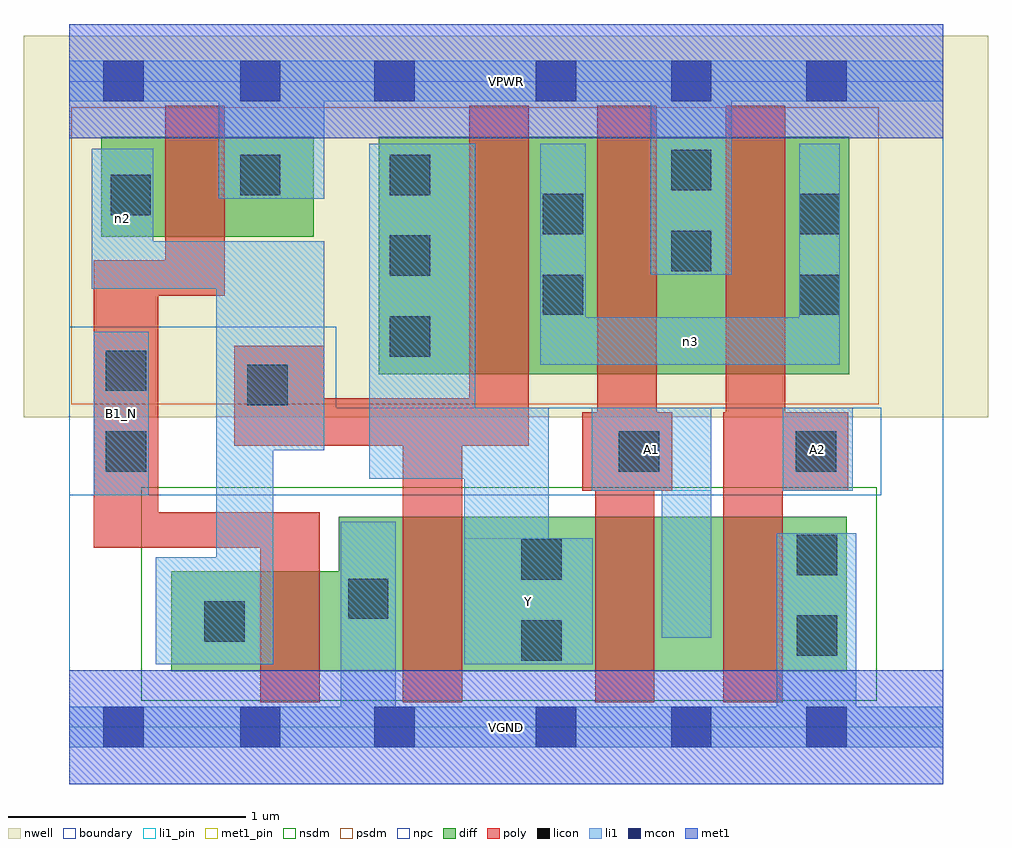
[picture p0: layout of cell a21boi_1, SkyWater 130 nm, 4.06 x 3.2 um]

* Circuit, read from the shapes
.subckt a21boi_1 A1 A2 B1_N VGND VPWR Y n2 n3
XM1 VGND B1_N n2 VSUBS sky130_fd_pr__nfet_01v8 w=0.42 l=0.25
XM2 Y n2 VGND VSUBS sky130_fd_pr__nfet_01v8 w=0.65 l=0.25
XM3 n1 A1 Y VSUBS sky130_fd_pr__nfet_01v8 w=0.65 l=0.25
XM4 VGND A2 n1 VSUBS sky130_fd_pr__nfet_01v8 w=0.65 l=0.25
XM5 VPWR B1_N n2 n4 sky130_fd_pr__pfet_01v8 w=0.42 l=0.25
XM6 n3 n2 Y n4 sky130_fd_pr__pfet_01v8 w=1 l=0.25
XM7 VPWR A1 n3 n4 sky130_fd_pr__pfet_01v8 w=1 l=0.25
XM8 n3 A2 VPWR n4 sky130_fd_pr__pfet_01v8 w=1 l=0.25
.ends

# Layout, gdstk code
import gdstk
lib = gdstk.Library(unit=1e-6, precision=1e-09)
def R(c, l, rs):  # rectangles x0, y0, x1, y1
    for r in rs: c.add(gdstk.rectangle(r[:2], r[2:], *l))
def A(c, l, x, y, w, h, nx, ny, dx, dy):  # array of equal rectangles
    R(c, l, [(x+i*dx, y+j*dy, x+i*dx+w, y+j*dy+h) for i in range(nx) for j in range(ny)])
nwell = (64, 20)
diff = (65, 20)
poly = (66, 20)
licon = (66, 44)
li1_pin = (67, 16)
li1 = (67, 20)
mcon = (67, 44)
met1_pin = (68, 16)
met1 = (68, 20)
nsdm = (93, 44)
psdm = (94, 20)
npc = (95, 20)
boundary = (235, 4)

a21boi_1 = lib.new_cell('a21boi_1')
R(a21boi_1, nwell, [(-0.19,1.305,3.87,2.91), (0,1.305,3.68,2.91)])
R(a21boi_1, diff, [(0.43,0.235,3.275,0.655), (1.135,0.235,3.275,0.885), (1.305,1.485,3.285,2.485), (0.135,2.065,1.03,2.485)])
R(a21boi_1, poly, [(0.805,0.105,1.055,0.905), (1.405,0.105,1.655,1.385), (2.215,0.105,2.465,1.325), (2.755,0.105,3.005,1.325), (0.105,0.755,0.375,1.965), (0.105,0.755,1.055,0.905), (2.16,0.995,2.54,1.325), (2.225,0.995,2.475,2.615), (2.755,0.995,3.28,1.325), (2.765,0.995,3.015,2.615), (0.695,1.185,1.935,1.385), (0.695,1.185,1.075,1.605), (1.685,1.185,1.935,2.615), (0.105,1.815,0.655,1.965), (0.405,1.815,0.655,2.615)])
A(a21boi_1, licon, 1.35, 1.56, 0.17, 0.17, 1, 3, 0, 0.34)
R(a21boi_1, licon, [(1.905,0.28,2.075,0.45), (3.065,0.3,3.235,0.47), (0.57,0.36,0.74,0.53), (1.175,0.455,1.345,0.625), (1.905,0.62,2.075,0.79), (3.065,0.64,3.235,0.81), (0.155,1.075,0.325,1.245), (2.315,1.075,2.485,1.245), (3.06,1.075,3.23,1.245), (0.75,1.355,0.92,1.525), (0.155,1.415,0.325,1.585), (1.995,1.735,2.165,1.905), (3.075,1.735,3.245,1.905), (2.535,1.92,2.705,2.09), (1.995,2.075,2.165,2.245), (3.075,2.075,3.245,2.245), (0.175,2.155,0.345,2.325), (0.72,2.24,0.89,2.41), (2.535,2.26,2.705,2.43)])
R(a21boi_1, li1_pin, [(1.665,0.265,2.205,0.795), (0.105,0.975,0.335,1.665), (2.2,0.995,2.705,1.345), (3.005,0.995,3.3,1.345)])
R(a21boi_1, li1, [(0,-0.085,3.68,0.085), (1.145,-0.085,1.375,0.865), (2.98,-0.085,3.315,0.815), (0.365,0.265,0.86,0.715), (0.62,0.265,0.86,2.045), (1.665,0.265,2.02,1.345), (1.665,0.265,2.205,0.795), (2.495,0.375,2.705,1.345), (0.105,0.975,0.335,1.665), (2.2,0.995,2.705,1.345), (3.005,0.995,3.3,1.345), (1.265,1.045,1.71,2.455), (0.62,1.165,1.075,2.045), (1.985,1.525,3.245,1.725), (1.985,1.525,2.175,2.455), (3.075,1.525,3.245,2.455), (0.095,1.845,0.355,2.435), (0.095,1.845,1.075,2.045), (2.45,1.905,2.79,2.805), (0.63,2.225,1.075,2.805), (0,2.635,3.68,2.805)])
A(a21boi_1, mcon, 1.965, -0.085, 0.17, 0.17, 3, 2, 0.57, 2.72)
R(a21boi_1, mcon, [(0.145,-0.085,0.315,0.085), (0.72,-0.085,0.89,0.085), (1.285,-0.085,1.455,0.085), (0.145,2.635,0.315,2.805), (0.72,2.635,0.89,2.805), (1.285,2.635,1.455,2.805)])
R(a21boi_1, met1_pin, [(0,-0.24,3.68,0.24), (0,2.48,3.68,2.96)])
R(a21boi_1, met1, [(0,-0.24,3.68,0.24), (0,2.48,3.68,2.96)])
R(a21boi_1, nsdm, [(0.305,0.11,3.4,1.01)])
R(a21boi_1, psdm, [(0.01,1.36,3.41,2.61)])
R(a21boi_1, npc, [(0,0.975,3.42,1.345), (0,0.975,1.125,1.685)])
R(a21boi_1, boundary, [(0,0,3.68,2.72)])
a21boi_1.add(gdstk.Label('A1', (2.452,1.17), layer=67, texttype=5))
a21boi_1.add(gdstk.Label('A2', (3.152,1.17), layer=67, texttype=5))
a21boi_1.add(gdstk.Label('B1_N', (0.22,1.32), layer=67, texttype=5))
a21boi_1.add(gdstk.Label('Y', (1.935,0.53), layer=67, texttype=5))
a21boi_1.add(gdstk.Label('n2', (0.225,2.14), layer=67, texttype=5))
a21boi_1.add(gdstk.Label('n3', (2.615,1.625), layer=67, texttype=5))
a21boi_1.add(gdstk.Label('VPWR', (1.84,2.72), layer=68, texttype=5))
a21boi_1.add(gdstk.Label('VGND', (1.84,0), layer=68, texttype=5))
a21boi_1.add(gdstk.Label('A1', (2.452,1.17), layer=67, texttype=16))
a21boi_1.add(gdstk.Label('A2', (3.152,1.17), layer=67, texttype=16))
a21boi_1.add(gdstk.Label('B1_N', (0.22,1.32), layer=67, texttype=16))
a21boi_1.add(gdstk.Label('Y', (1.935,0.53), layer=67, texttype=16))
a21boi_1.add(gdstk.Label('VPWR', (1.84,2.72), layer=68, texttype=16))
a21boi_1.add(gdstk.Label('VGND', (1.84,0), layer=68, texttype=16))

lib.write_gds('a21boi_1.gds')
